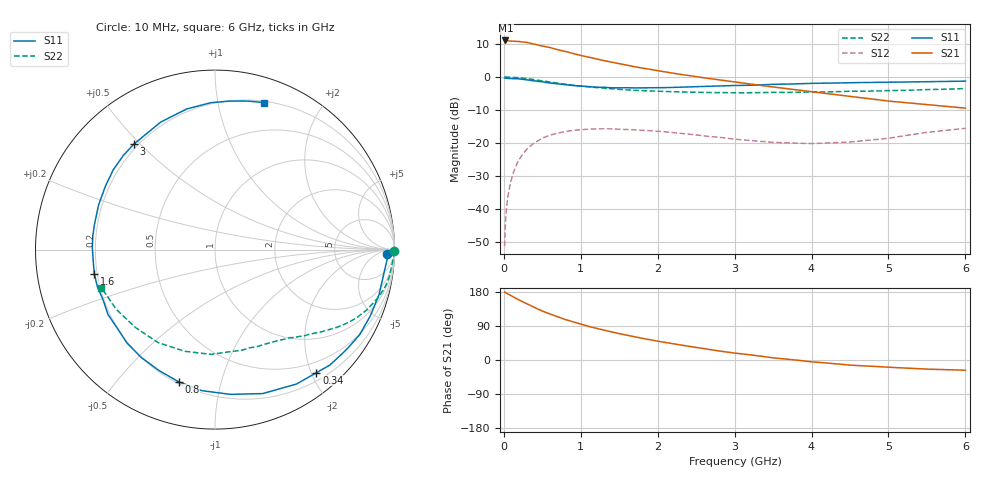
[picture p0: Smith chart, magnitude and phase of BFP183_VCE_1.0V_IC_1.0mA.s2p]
! Infineon Technologies  Discrete & RF Semiconductors
! BFP183
! VCE = 1.0 V,  IC =  1.0 mA
! Common Emitter S-Parameters:  Jan 2016
# GHz  S  MA  R  50
!  f  S11  S21  S12  S22
! GHz  MAG  ANG  MAG  ANG  MAG  ANG  MAG  ANG
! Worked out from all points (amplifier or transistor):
!   210 points, 10 MHz to 6 GHz, reference 50 ohm
!   highest |S21| = 11.1 dB at 20 MHz (marker M1)
!   |S21| within 3 dB of that: start of sweep to 735 MHz
!   unconditionally stable (mu >= 1): 2.413 GHz to end of sweep
!   at 185 MHz: K = 0.08, MSG = 18.2 dB, |S12| = -25.7 dB
!   at 1.52 GHz: K = 0.62, MSG = 9.9 dB, |S12| = -15.9 dB
!   at 6 GHz: K = 1.20, MAG = 0.4 dB, |S12| = -15.6 dB
!   S11 on the Smith chart (normalised r, x): 10 MHz: 35, -23; 340 MHz: 0.32, -2.08; 800 MHz: 0.21, -0.74; 1.6 GHz: 0.19, -0.10; 3 GHz: 0.18, +0.48; 6 GHz: 0.21, +1.36
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0.01  0.9614 -1.5  3.542 179.3  0.0027 86.8  0.9993 -0.6
0.02  0.961 -3.2  3.578 178.5  0.0059 86.3  0.9982 -1.2
0.035  0.9551 -5.4  3.561 176.6  0.0102 86.9  0.996 -2.0
0.055  0.9496 -8.5  3.542 174.1  0.0159 86.0  0.9932 -3.2
0.125  0.9422 -19.3  3.485 166.4  0.0354 77.7  0.9846 -7.4
0.24  0.9214 -36.4  3.397 154.1  0.0657 67.7  0.9624 -13.9
0.34  0.8887 -50.5  3.252 144.4  0.0882 59.1  0.9292 -18.8
0.4  0.8759 -58.8  3.147 138.1  0.1005 54.8  0.9104 -21.6
0.5  0.845 -71.7  2.945 129.0  0.1176 47.6  0.8743 -25.9
0.6  0.8109 -84.0  2.797 121.1  0.131 40.9  0.838 -29.5
0.8  0.7637 -105.4  2.439 106.7  0.1484 29.6  0.7738 -35.3
1.02  0.7239 -126.1  2.093 93.4  0.1588 19.9  0.7215 -40.3
1.3  0.6974 -148.7  1.772 78.9  0.1629 9.9  0.673 -46.0
1.6  0.6862 -168.6  1.509 65.4  0.1599 2.0  0.6374 -51.1
2.02  0.6858 167.6  1.233 49.0  0.1493 -5.7  0.6055 -58.5
2.56  0.7163 143.5  0.986 31.3  0.1291 -11.3  0.5819 -69.8
3  0.7414 127.7  0.842 18.2  0.1135 -11.7  0.5751 -79.9
3.1  0.7436 124.7  0.812 16.0  0.1111 -10.8  0.5748 -82.4
3.5  0.7724 113.0  0.704 5.6  0.1017 -6.8  0.584 -92.1
4.1  0.8014 99.3  0.578 -6.3  0.0983 4.3  0.5911 -109.6
5.1  0.8343 82.7  0.42 -20.1  0.1224 19.1  0.6223 -138.3
6  0.8629 71.7  0.336 -27.0  0.1658 17.1  0.6676 -161.5
